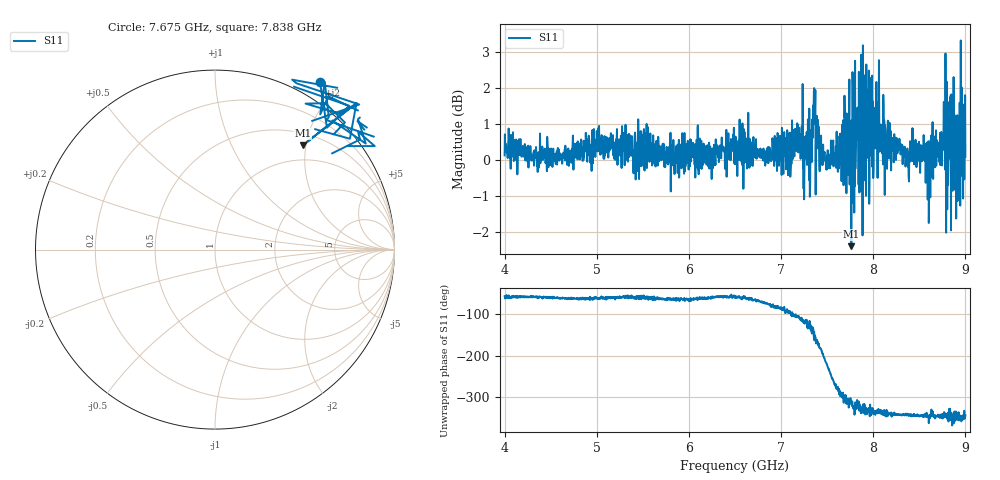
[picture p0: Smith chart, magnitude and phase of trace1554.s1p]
! Created with skrf 1.8.0 (http://scikit-rf.org).
# Hz S RI R 50.0
!freq ReS11 ImS11
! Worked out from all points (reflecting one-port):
!   1601 points, 4 GHz to 9 GHz, reference 50 ohm
!   lowest |S11| = -2.4 dB at 7.762 GHz (marker M1), VSWR 7.30, Z = 35.4 + j97.1 ohm
!   phase of S11 starts at -57 deg and turns -286 deg over the sweep
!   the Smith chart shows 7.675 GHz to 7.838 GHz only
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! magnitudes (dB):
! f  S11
! 4 GHz  0.1
! 4.625 GHz  -0.1
! 5.25 GHz  0.1
! 5.875 GHz  0.3
! 6.5 GHz  0.2
! 7.125 GHz  0.0
! 7.209 GHz  0.2
! 7.262 GHz  0.6
! 7.328 GHz  0.7
! 7.347 GHz  1.5
! 7.469 GHz  0.2
! 7.606 GHz  0.1
! 7.691 GHz  1.2
! 7.75 GHz  0.2
! 7.762 GHz  -2.4
! 7.769 GHz  -0.2
! 7.822 GHz  0.9
! 7.875 GHz  0.0
! 7.928 GHz  1.0
! 7.944 GHz  1.9
! 8.009 GHz  1.0
! 8.375 GHz  0.1
! 8.541 GHz  0.3
! 8.612 GHz  -0.3
! 8.775 GHz  0.5
! 8.919 GHz  -0.1
! 8.959 GHz  2.0
! 9 GHz  0.1
